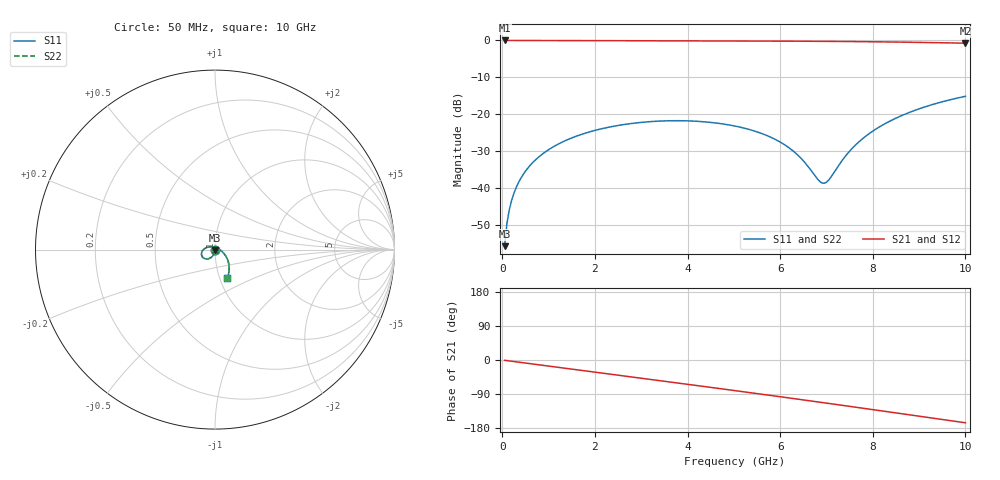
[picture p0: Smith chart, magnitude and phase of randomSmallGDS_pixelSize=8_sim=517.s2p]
! freq	dB(S11)	phase(S11)	dB(S12)	phase(S12)
!  dB(S21)	phase(S21)	dB(S22)	phase(S22)
!S-par simulation data
#  GHz  S  DB  R 50
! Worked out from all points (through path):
!   200 points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, 50 MHz to 10 GHz, reference 50 ohm
!   highest |S21| = 0.00 dB at 50 MHz (marker M1); lowest = -0.7 dB at 10 GHz (marker M2)
!   group delay of S21, straight-line fit = 45.9 ps
!   lowest |S11| = -55.9 dB at 50 MHz (marker M3), VSWR 1.00, Z = 50 - j0.161 ohm
!   |S11| at or under -10 dB: start of sweep to end of sweep
!   |S22| runs from -55.9 to -15.2 dB; largest |S21 - S12| = 0
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0.05  -55.88 -91.5  -0.00 -0.8  -0.00 -0.8  -55.87 -91.5
0.1  -49.71 -93.2  -0.00 -1.6  -0.00 -1.6  -49.71 -93.2
0.2  -43.52 -94.8  -0.00 -3.2  -0.00 -3.2  -43.52 -94.8
0.35  -38.60 -96.9  -0.00 -5.7  -0.00 -5.7  -38.60 -96.9
0.5  -35.51 -99.2  -0.01 -8.1  -0.01 -8.1  -35.51 -99.2
1  -29.67 -107.2  -0.02 -16.1  -0.02 -16.1  -29.67 -107.2
1.75  -25.34 -119.5  -0.04 -28.1  -0.04 -28.1  -25.34 -119.5
2.5  -23.09 -131.8  -0.06 -40.0  -0.06 -40.0  -23.09 -131.8
3.4  -21.90 -146.8  -0.09 -54.4  -0.09 -54.4  -21.90 -146.8
4.25  -21.99 -161.5  -0.11 -68.2  -0.11 -68.2  -21.99 -161.4
5.05  -23.32 -176.4  -0.14 -81.2  -0.14 -81.2  -23.32 -176.4
5.6  -25.27 171.9  -0.16 -90.2  -0.16 -90.2  -25.27 171.9
6.05  -27.97 159.7  -0.18 -97.7  -0.18 -97.7  -27.97 159.8
6.4  -31.36 145.3  -0.20 -103.6  -0.20 -103.6  -31.37 145.4
6.7  -35.87 119.7  -0.22 -108.7  -0.22 -108.7  -35.88 119.9
6.9  -38.70 81.0  -0.23 -112.0  -0.23 -112.0  -38.74 81.1
7  -38.50 55.2  -0.24 -113.7  -0.24 -113.7  -38.54 55.2
7.6  -28.73 -11.7  -0.30 -124.0  -0.30 -124.0  -28.74 -11.8
7.95  -25.06 -24.2  -0.35 -130.0  -0.35 -130.0  -25.06 -24.2
8.35  -22.04 -34.6  -0.40 -137.0  -0.40 -137.0  -22.04 -34.6
9.1  -18.15 -50.5  -0.54 -150.0  -0.54 -150.0  -18.15 -50.5
10  -15.17 -67.4  -0.74 -165.7  -0.74 -165.7  -15.18 -67.4
